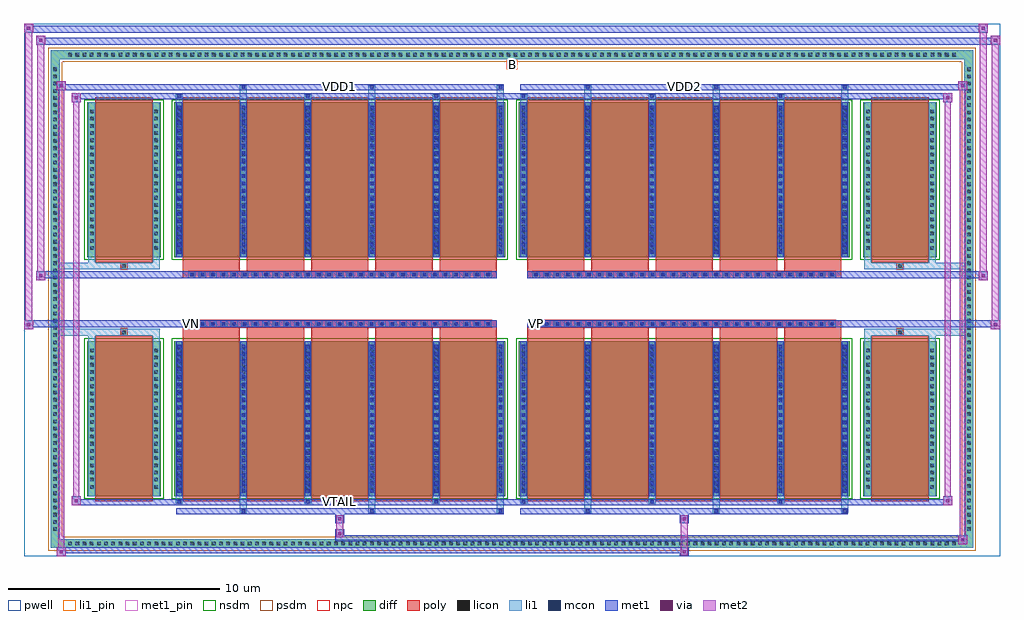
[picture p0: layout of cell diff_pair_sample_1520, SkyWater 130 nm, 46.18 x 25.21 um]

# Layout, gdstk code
import gdstk
lib = gdstk.Library(unit=1e-6, precision=5e-09)
def R(c, l, rs):  # rectangles x0, y0, x1, y1
    for r in rs: c.add(gdstk.rectangle(r[:2], r[2:], *l))
def A(c, l, x, y, w, h, nx, ny, dx, dy):  # array of equal rectangles
    R(c, l, [(x+i*dx, y+j*dy, x+i*dx+w, y+j*dy+h) for i in range(nx) for j in range(ny)])
def P(c, l, *ps):  # polygons
    for p in ps: c.add(gdstk.Polygon(p, *l))
pwell = (64, 44)
diff = (65, 20)
poly = (66, 20)
licon = (66, 44)
li1_pin = (67, 16)
li1 = (67, 20)
mcon = (67, 44)
met1_pin = (68, 16)
met1 = (68, 20)
via = (68, 44)
met2 = (69, 20)
nsdm = (93, 44)
psdm = (94, 20)
npc = (95, 20)

diff_pair_sample_1520 = lib.new_cell('diff_pair_sample_1520')
R(diff_pair_sample_1520, pwell, [(-23.09,-12.17,23.09,13.04), (-20.41,-10.36,-0.01,-0.8), (0.01,-10.36,20.41,-0.8), (-20.41,0.8,-0.01,10.36), (0.01,0.8,20.41,10.36)])
A(diff_pair_sample_1520, diff, -21.115, -11.77, 0.41, 0.41, 124, 2, 0.34, 23.13)
A(diff_pair_sample_1520, diff, -21.82, -11.085, 0.41, 0.41, 1, 65, 0, 0.34)
A(diff_pair_sample_1520, diff, 21.41, -11.085, 0.41, 0.41, 1, 65, 0, 0.34)
R(diff_pair_sample_1520, diff, [(-21.115,-11.77,21.115,-11.36), (-21.82,-11.085,-21.41,11.085), (21.41,-11.085,21.82,11.085), (-20.1,-9.315,-16.61,-1.985), (-15.97,-9.315,-0.32,-1.985), (0.32,-9.315,15.97,-1.985), (16.61,-9.315,20.1,-1.985), (-20.1,1.985,-16.61,9.315), (-15.97,1.985,-0.32,9.315), (0.32,1.985,15.97,9.315), (16.61,1.985,20.1,9.315), (-21.115,11.36,21.115,11.77)])
P(diff_pair_sample_1520, diff, [(21.82,11.77),(-21.82,11.77),(-21.82,-11.36),(-21.41,-11.36),(-21.41,11.36),(21.41,11.36),(21.41,-11.36),(-21.41,-11.36),(-21.82,-11.36),(-21.82,-11.77),(21.82,-11.77)])
A(diff_pair_sample_1520, poly, -15.58, -9.565, 2.71, 7.83, 5, 2, 3.04, 11.3)
A(diff_pair_sample_1520, poly, 0.71, -9.565, 2.71, 7.83, 5, 2, 3.04, 11.3)
A(diff_pair_sample_1520, poly, -15.58, -1.735, 2.71, 0.405, 5, 2, 3.04, 3.065)
A(diff_pair_sample_1520, poly, 0.71, -1.735, 2.71, 0.405, 5, 2, 3.04, 3.065)
A(diff_pair_sample_1520, poly, -15.31, -1.33, 0.33, 0.33, 29, 2, 0.5, 2.33)
A(diff_pair_sample_1520, poly, 0.98, -1.33, 0.33, 0.33, 29, 2, 0.5, 2.33)
R(diff_pair_sample_1520, poly, [(-19.71,-9.565,-17,-1.735), (17,-9.565,19.71,-1.735), (-18.52,-1.735,-18.19,-1.405), (-18.52,-1.735,-18.19,-1.405), (18.19,-1.735,18.52,-1.405), (18.19,-1.735,18.52,-1.405), (-15.58,-1.33,-0.71,-1), (0.71,-1.33,15.58,-1), (-15.58,1,-0.71,1.33), (0.71,1,15.58,1.33), (-18.52,1.405,-18.19,1.735), (-18.52,1.405,-18.19,1.735), (18.19,1.405,18.52,1.735), (18.19,1.405,18.52,1.735), (-19.71,1.735,-17,9.565), (17,1.735,19.71,9.565)])
A(diff_pair_sample_1520, licon, -20.995, -11.65, 0.17, 0.17, 124, 2, 0.34, 23.13)
A(diff_pair_sample_1520, licon, -21.7, -10.965, 0.17, 0.17, 1, 65, 0, 0.34)
A(diff_pair_sample_1520, licon, 21.53, -10.965, 0.17, 0.17, 1, 65, 0, 0.34)
A(diff_pair_sample_1520, licon, -19.96, -8.965, 0.17, 0.17, 1, 20, 0, 0.34)
A(diff_pair_sample_1520, licon, -16.92, -8.965, 0.17, 0.17, 1, 20, 0, 0.34)
A(diff_pair_sample_1520, licon, -15.83, -8.965, 0.17, 0.17, 6, 20, 3.04, 0.34)
A(diff_pair_sample_1520, licon, 0.46, -8.965, 0.17, 0.17, 6, 20, 3.04, 0.34)
A(diff_pair_sample_1520, licon, 16.75, -8.965, 0.17, 0.17, 1, 20, 0, 0.34)
A(diff_pair_sample_1520, licon, 19.79, -8.965, 0.17, 0.17, 1, 20, 0, 0.34)
A(diff_pair_sample_1520, licon, -15.23, -1.25, 0.17, 0.17, 29, 2, 0.5, 2.33)
A(diff_pair_sample_1520, licon, 1.06, -1.25, 0.17, 0.17, 29, 2, 0.5, 2.33)
A(diff_pair_sample_1520, licon, -19.96, 2.335, 0.17, 0.17, 1, 20, 0, 0.34)
A(diff_pair_sample_1520, licon, -16.92, 2.335, 0.17, 0.17, 1, 20, 0, 0.34)
A(diff_pair_sample_1520, licon, -15.83, 2.335, 0.17, 0.17, 6, 20, 3.04, 0.34)
A(diff_pair_sample_1520, licon, 0.46, 2.335, 0.17, 0.17, 6, 20, 3.04, 0.34)
A(diff_pair_sample_1520, licon, 16.75, 2.335, 0.17, 0.17, 1, 20, 0, 0.34)
A(diff_pair_sample_1520, licon, 19.79, 2.335, 0.17, 0.17, 1, 20, 0, 0.34)
R(diff_pair_sample_1520, licon, [(-18.44,-1.655,-18.27,-1.485), (18.27,-1.655,18.44,-1.485), (-18.44,1.485,-18.27,1.655), (18.27,1.485,18.44,1.655)])
R(diff_pair_sample_1520, li1_pin, [(-0.25,10.86,0.25,11.36)])
A(diff_pair_sample_1520, li1, -21.075, -11.73, 0.33, 0.33, 124, 2, 0.34, 23.13)
A(diff_pair_sample_1520, li1, -21.78, -11.045, 0.33, 0.33, 1, 65, 0, 0.34)
A(diff_pair_sample_1520, li1, 21.45, -11.045, 0.33, 0.33, 1, 65, 0, 0.34)
A(diff_pair_sample_1520, li1, -12.87, -10.12, 0.33, 0.805, 3, 2, 6.08, 19.435)
A(diff_pair_sample_1520, li1, -12.79, -10.12, 0.17, 0.17, 3, 2, 6.08, 20.07)
A(diff_pair_sample_1520, li1, 3.42, -10.12, 0.33, 0.805, 3, 2, 6.08, 19.435)
A(diff_pair_sample_1520, li1, 3.5, -10.12, 0.17, 0.17, 3, 2, 6.08, 20.07)
A(diff_pair_sample_1520, li1, -15.91, -9.69, 0.33, 0.375, 3, 2, 6.08, 19.005)
A(diff_pair_sample_1520, li1, -15.83, -9.69, 0.17, 0.17, 3, 2, 6.08, 19.21)
A(diff_pair_sample_1520, li1, 0.38, -9.69, 0.33, 0.375, 3, 2, 6.08, 19.005)
A(diff_pair_sample_1520, li1, 0.46, -9.69, 0.17, 0.17, 3, 2, 6.08, 19.21)
A(diff_pair_sample_1520, li1, -15.91, -9.315, 0.33, 7.33, 6, 2, 3.04, 11.3)
A(diff_pair_sample_1520, li1, 0.38, -9.315, 0.33, 7.33, 6, 2, 3.04, 11.3)
A(diff_pair_sample_1520, li1, -15.83, -9.155, 0.17, 0.17, 6, 20, 3.04, 0.36)
A(diff_pair_sample_1520, li1, -15.83, -9.155, 0.17, 7.01, 6, 2, 3.04, 11.3)
A(diff_pair_sample_1520, li1, 0.46, -9.155, 0.17, 0.17, 6, 20, 3.04, 0.36)
A(diff_pair_sample_1520, li1, 0.46, -9.155, 0.17, 7.01, 6, 2, 3.04, 11.3)
A(diff_pair_sample_1520, li1, -20.04, -9.045, 0.33, 0.33, 1, 20, 0, 0.34)
A(diff_pair_sample_1520, li1, -17, -9.045, 0.33, 0.33, 1, 20, 0, 0.34)
A(diff_pair_sample_1520, li1, -15.91, -9.045, 0.33, 0.33, 6, 20, 3.04, 0.34)
A(diff_pair_sample_1520, li1, 0.38, -9.045, 0.33, 0.33, 6, 20, 3.04, 0.34)
A(diff_pair_sample_1520, li1, 16.67, -9.045, 0.33, 0.33, 1, 20, 0, 0.34)
A(diff_pair_sample_1520, li1, 19.71, -9.045, 0.33, 0.33, 1, 20, 0, 0.34)
A(diff_pair_sample_1520, li1, -15.31, -1.33, 0.33, 0.33, 29, 2, 0.5, 2.33)
A(diff_pair_sample_1520, li1, 0.98, -1.33, 0.33, 0.33, 29, 2, 0.5, 2.33)
A(diff_pair_sample_1520, li1, -15.83, 2.145, 0.17, 0.17, 6, 20, 3.04, 0.36)
A(diff_pair_sample_1520, li1, 0.46, 2.145, 0.17, 0.17, 6, 20, 3.04, 0.36)
A(diff_pair_sample_1520, li1, -20.04, 2.255, 0.33, 0.33, 1, 20, 0, 0.34)
A(diff_pair_sample_1520, li1, -17, 2.255, 0.33, 0.33, 1, 20, 0, 0.34)
A(diff_pair_sample_1520, li1, -15.91, 2.255, 0.33, 0.33, 6, 20, 3.04, 0.34)
A(diff_pair_sample_1520, li1, 0.38, 2.255, 0.33, 0.33, 6, 20, 3.04, 0.34)
A(diff_pair_sample_1520, li1, 16.67, 2.255, 0.33, 0.33, 1, 20, 0, 0.34)
A(diff_pair_sample_1520, li1, 19.71, 2.255, 0.33, 0.33, 1, 20, 0, 0.34)
R(diff_pair_sample_1520, li1, [(-21.82,-11.77,-21.41,-11.36), (-21.82,-11.77,-21.41,-11.36), (-21.41,-11.77,21.41,-11.36), (21.41,-11.77,21.82,-11.36), (21.41,-11.77,21.82,-11.36), (-21.82,-11.36,-21.41,11.36), (21.41,-11.36,21.82,11.36), (-20.04,-9.315,-19.71,-1.985), (-17,-9.315,-16.67,-1.985), (16.67,-9.315,17,-1.985), (19.71,-9.315,20.04,-1.985), (-20.04,-1.985,-19.71,-1.405), (-17,-1.985,-16.67,-1.405), (16.67,-1.985,17,-1.405), (19.71,-1.985,20.04,-1.405), (-21.82,-1.735,-18.52,-1.405), (-20.04,-1.735,-18.52,-1.405), (-18.52,-1.735,-18.19,-1.405), (-18.19,-1.735,-16.67,-1.405), (16.67,-1.735,18.19,-1.405), (18.19,-1.735,18.52,-1.405), (18.19,-1.735,21.82,-1.405), (18.52,-1.735,20.04,-1.405), (-21.82,1.405,-18.52,1.735), (-20.04,1.405,-18.52,1.735), (-20.04,1.405,-19.71,1.985), (-18.52,1.405,-18.19,1.735), (-18.19,1.405,-16.67,1.735), (-17,1.405,-16.67,1.985), (16.67,1.405,18.19,1.735), (16.67,1.405,17,1.985), (18.19,1.405,18.52,1.735), (18.19,1.405,21.82,1.735), (18.52,1.405,20.04,1.735), (19.71,1.405,20.04,1.985), (-20.04,1.985,-19.71,9.315), (-17,1.985,-16.67,9.315), (16.67,1.985,17,9.315), (19.71,1.985,20.04,9.315), (-21.82,11.36,-21.41,11.77), (-21.82,11.36,-21.41,11.77), (-21.41,11.36,21.41,11.77), (21.41,11.36,21.82,11.77), (21.41,11.36,21.82,11.77)])
A(diff_pair_sample_1520, mcon, -12.79, -10.12, 0.17, 0.17, 3, 2, 6.08, 20.07)
A(diff_pair_sample_1520, mcon, 3.5, -10.12, 0.17, 0.17, 3, 2, 6.08, 20.07)
A(diff_pair_sample_1520, mcon, -15.83, -9.69, 0.17, 0.17, 3, 2, 6.08, 19.21)
A(diff_pair_sample_1520, mcon, 0.46, -9.69, 0.17, 0.17, 3, 2, 6.08, 19.21)
A(diff_pair_sample_1520, mcon, -15.83, -9.155, 0.17, 0.17, 6, 20, 3.04, 0.36)
A(diff_pair_sample_1520, mcon, 0.46, -9.155, 0.17, 0.17, 6, 20, 3.04, 0.36)
A(diff_pair_sample_1520, mcon, -15.23, -1.25, 0.17, 0.17, 29, 2, 0.5, 2.33)
A(diff_pair_sample_1520, mcon, 1.06, -1.25, 0.17, 0.17, 29, 2, 0.5, 2.33)
A(diff_pair_sample_1520, mcon, -15.83, 2.145, 0.17, 0.17, 6, 20, 3.04, 0.36)
A(diff_pair_sample_1520, mcon, 0.46, 2.145, 0.17, 0.17, 6, 20, 3.04, 0.36)
R(diff_pair_sample_1520, met1_pin, [(-8.28,-9.73,-8.01,-9.46), (-15.28,-1.29,-15.01,-1.02), (1.01,-1.29,1.28,-1.02), (-8.28,9.91,-8.01,10.18), (8.01,9.91,8.28,10.18)])
A(diff_pair_sample_1520, met1, -12.85, -10.18, 0.29, 0.29, 3, 2, 6.08, 20.07)
A(diff_pair_sample_1520, met1, 3.44, -10.18, 0.29, 0.29, 3, 2, 6.08, 20.07)
A(diff_pair_sample_1520, met1, -15.89, -9.75, 0.29, 0.29, 3, 2, 6.08, 19.21)
A(diff_pair_sample_1520, met1, 0.4, -9.75, 0.29, 0.29, 3, 2, 6.08, 19.21)
A(diff_pair_sample_1520, met1, -15.89, -9.315, 0.29, 7.33, 6, 2, 3.04, 11.3)
A(diff_pair_sample_1520, met1, 0.4, -9.315, 0.29, 7.33, 6, 2, 3.04, 11.3)
A(diff_pair_sample_1520, met1, -15.89, -9.215, 0.29, 0.29, 6, 20, 3.04, 0.36)
A(diff_pair_sample_1520, met1, 0.4, -9.215, 0.29, 0.29, 6, 20, 3.04, 0.36)
A(diff_pair_sample_1520, met1, -15.29, -1.31, 0.29, 0.29, 29, 2, 0.5, 2.33)
A(diff_pair_sample_1520, met1, 1, -1.31, 0.29, 0.29, 29, 2, 0.5, 2.33)
A(diff_pair_sample_1520, met1, -15.89, 2.085, 0.29, 0.29, 6, 20, 3.04, 0.36)
A(diff_pair_sample_1520, met1, 0.4, 2.085, 0.29, 0.29, 6, 20, 3.04, 0.36)
R(diff_pair_sample_1520, met1, [(-21.55,-12.17,-21.12,-11.74), (7.93,-12.17,8.36,-11.74), (-21.55,-12.03,8.36,-11.74), (21.12,-11.6,21.55,-11.17), (-8.36,-11.46,21.55,-11.17), (-8.36,-11.32,-7.93,-10.89), (-8.36,-10.61,-7.93,-10.18), (7.93,-10.61,8.36,-10.18), (-15.89,-10.18,-0.4,-9.89), (0.4,-10.18,15.89,-9.89), (-20.84,-9.75,-20.41,-9.32), (-20.84,-9.75,-15.89,-9.46), (-15.89,-9.75,-0.4,-9.46), (-0.4,-9.75,0.4,-9.46), (0.4,-9.75,15.89,-9.46), (15.89,-9.75,20.84,-9.46), (20.41,-9.75,20.84,-9.32), (-23.09,-1.43,-22.66,-1), (22.66,-1.43,23.09,-1), (-23.09,-1.33,-0.71,-1), (-15.58,-1.33,-0.71,-1), (0.71,-1.33,15.58,-1), (0.71,-1.33,23.09,-1), (-22.52,0.9,-22.09,1.33), (22.09,0.9,22.52,1.33), (-22.52,1,-15.58,1.33), (-15.58,1,-0.71,1.33), (0.71,1,15.58,1.33), (15.58,1,22.52,1.33), (-20.84,9.32,-20.41,9.75), (20.41,9.32,20.84,9.75), (-20.84,9.46,-15.89,9.75), (-15.89,9.46,-0.4,9.75), (-0.4,9.46,0.4,9.75), (0.4,9.46,15.89,9.75), (15.89,9.46,20.84,9.75), (-21.55,9.89,-21.12,10.32), (-21.55,9.89,-15.89,10.18), (-15.89,9.89,-0.4,10.18), (0.4,9.89,15.89,10.18), (15.89,9.89,21.55,10.18), (21.12,9.89,21.55,10.32), (-22.52,12.04,-22.09,12.47), (-22.52,12.04,-20.41,12.37), (-20.41,12.04,20.41,12.37), (20.41,12.04,23.09,12.37), (22.66,12.04,23.09,12.47), (-23.09,12.61,-22.66,13.04), (-23.09,12.61,-20.41,12.94), (-20.41,12.61,20.41,12.94), (20.41,12.61,22.52,12.94), (22.09,12.61,22.52,13.04)])
R(diff_pair_sample_1520, via, [(-21.41,-12.03,-21.26,-11.88), (8.07,-12.03,8.22,-11.88), (21.26,-11.46,21.41,-11.31), (-8.22,-11.18,-8.07,-11.03), (-8.22,-10.47,-8.07,-10.32), (8.07,-10.47,8.22,-10.32), (-20.7,-9.61,-20.55,-9.46), (20.55,-9.61,20.7,-9.46), (-22.95,-1.29,-22.8,-1.14), (22.8,-1.29,22.95,-1.14), (-22.38,1.04,-22.23,1.19), (22.23,1.04,22.38,1.19), (-20.7,9.46,-20.55,9.61), (20.55,9.46,20.7,9.61), (-21.41,10.03,-21.26,10.18), (21.26,10.03,21.41,10.18), (-22.38,12.18,-22.23,12.33), (22.8,12.18,22.95,12.33), (-22.95,12.75,-22.8,12.9), (22.23,12.75,22.38,12.9)])
R(diff_pair_sample_1520, met2, [(-21.55,-12.17,-21.12,-11.74), (-21.48,-12.17,-21.19,10.32), (-21.19,-12.17,-21.12,-11.74), (-21.5,-12.12,-21.17,-11.79), (7.98,-12.12,8.31,-11.79), (7.98,-11.79,8.31,-10.56), (21.12,-11.6,21.55,-11.17), (21.19,-11.6,21.48,10.32), (21.48,-11.6,21.55,-11.17), (21.17,-11.55,21.5,-11.22), (-8.31,-11.27,-7.98,-10.94), (-8.31,-10.94,-7.98,-10.56), (-8.31,-10.56,-7.98,-10.23), (7.98,-10.56,8.31,-10.23), (-20.84,-9.75,-20.41,-9.32), (-20.77,-9.75,-20.48,9.75), (-20.48,-9.75,-20.41,-9.32), (20.41,-9.75,20.84,-9.32), (20.48,-9.75,20.77,9.75), (20.77,-9.75,20.84,-9.32), (-20.79,-9.7,-20.46,-9.37), (20.46,-9.7,20.79,-9.37), (-23.09,-1.43,-22.66,-1), (-23.04,-1.43,-22.71,13.04), (-22.71,-1.43,-22.66,-1), (22.66,-1.43,23.09,-1), (22.71,-1.43,23.04,12.47), (23.04,-1.43,23.09,-1), (-23.04,-1.38,-22.71,-1.05), (22.71,-1.38,23.04,-1.05), (-22.52,0.9,-22.09,1.33), (-22.47,0.9,-22.14,12.47), (-22.14,0.9,-22.09,1.33), (22.09,0.9,22.52,1.33), (22.14,0.9,22.47,13.04), (22.47,0.9,22.52,1.33), (-22.47,0.95,-22.14,1.28), (22.14,0.95,22.47,1.28), (-20.84,9.32,-20.41,9.75), (-20.48,9.32,-20.41,9.75), (20.41,9.32,20.84,9.75), (20.77,9.32,20.84,9.75), (-20.79,9.37,-20.46,9.7), (20.46,9.37,20.79,9.7), (-21.55,9.89,-21.12,10.32), (-21.19,9.89,-21.12,10.32), (21.12,9.89,21.55,10.32), (21.48,9.89,21.55,10.32), (-21.5,9.94,-21.17,10.27), (21.17,9.94,21.5,10.27), (-22.52,12.04,-22.09,12.47), (-22.14,12.04,-22.09,12.47), (22.66,12.04,23.09,12.47), (23.04,12.04,23.09,12.47), (-22.47,12.09,-22.14,12.42), (22.71,12.09,23.04,12.42), (-23.09,12.61,-22.66,13.04), (-22.71,12.61,-22.66,13.04), (22.09,12.61,22.52,13.04), (22.47,12.61,22.52,13.04), (-23.04,12.66,-22.71,12.99), (22.14,12.66,22.47,12.99)])
R(diff_pair_sample_1520, nsdm, [(-20.23,-9.445,-16.48,-1.855), (-16.1,-9.445,-0.19,-1.855), (0.19,-9.445,16.1,-1.855), (16.48,-9.445,20.23,-1.855), (-20.23,1.855,-16.48,9.445), (-16.1,1.855,-0.19,9.445), (0.19,1.855,16.1,9.445), (16.48,1.855,20.23,9.445)])
P(diff_pair_sample_1520, psdm, [(21.95,11.9),(-21.95,11.9),(-21.95,-11.23),(-21.28,-11.23),(-21.28,11.23),(21.28,11.23),(21.28,-11.23),(-21.28,-11.23),(-21.95,-11.23),(-21.95,-11.9),(21.95,-11.9)])
A(diff_pair_sample_1520, npc, -15.33, -1.35, 0.37, 0.37, 29, 2, 0.5, 2.33)
A(diff_pair_sample_1520, npc, 0.96, -1.35, 0.37, 0.37, 29, 2, 0.5, 2.33)
R(diff_pair_sample_1520, npc, [(-18.54,-1.755,-18.17,-1.385), (18.17,-1.755,18.54,-1.385), (-15.33,-1.35,-14.46,-0.98), (-15.33,-1.35,-14.46,-0.98), (-14.83,-1.35,-13.96,-0.98), (-14.83,-1.35,-13.96,-0.98), (-14.33,-1.35,-13.46,-0.98), (-14.33,-1.35,-13.46,-0.98), (-13.83,-1.35,-12.96,-0.98), (-13.83,-1.35,-12.96,-0.98), (-13.33,-1.35,-12.46,-0.98), (-13.33,-1.35,-12.46,-0.98), (-12.83,-1.35,-11.96,-0.98), (-12.83,-1.35,-11.96,-0.98), (-12.33,-1.35,-11.46,-0.98), (-12.33,-1.35,-11.46,-0.98), (-11.83,-1.35,-10.96,-0.98), (-11.83,-1.35,-10.96,-0.98), (-11.33,-1.35,-10.46,-0.98), (-11.33,-1.35,-10.46,-0.98), (-10.83,-1.35,-9.96,-0.98), (-10.83,-1.35,-9.96,-0.98), (-10.33,-1.35,-9.46,-0.98), (-10.33,-1.35,-9.46,-0.98), (-9.83,-1.35,-8.96,-0.98), (-9.83,-1.35,-8.96,-0.98), (-9.33,-1.35,-8.46,-0.98), (-9.33,-1.35,-8.46,-0.98), (-8.83,-1.35,-7.96,-0.98), (-8.83,-1.35,-7.96,-0.98), (-8.33,-1.35,-7.46,-0.98), (-8.33,-1.35,-7.46,-0.98), (-7.83,-1.35,-6.96,-0.98), (-7.83,-1.35,-6.96,-0.98), (-7.33,-1.35,-6.46,-0.98), (-7.33,-1.35,-6.46,-0.98), (-6.83,-1.35,-5.96,-0.98), (-6.83,-1.35,-5.96,-0.98), (-6.33,-1.35,-5.46,-0.98), (-6.33,-1.35,-5.46,-0.98), (-5.83,-1.35,-4.96,-0.98), (-5.83,-1.35,-4.96,-0.98), (-5.33,-1.35,-4.46,-0.98), (-5.33,-1.35,-4.46,-0.98), (-4.83,-1.35,-3.96,-0.98), (-4.83,-1.35,-3.96,-0.98), (-4.33,-1.35,-3.46,-0.98), (-4.33,-1.35,-3.46,-0.98), (-3.83,-1.35,-2.96,-0.98), (-3.83,-1.35,-2.96,-0.98), (-3.33,-1.35,-2.46,-0.98), (-3.33,-1.35,-2.46,-0.98), (-2.83,-1.35,-1.96,-0.98), (-2.83,-1.35,-1.96,-0.98), (-2.33,-1.35,-1.46,-0.98), (-2.33,-1.35,-1.46,-0.98), (-1.83,-1.35,-0.96,-0.98), (-1.83,-1.35,-0.96,-0.98), (0.96,-1.35,1.83,-0.98), (0.96,-1.35,1.83,-0.98), (1.46,-1.35,2.33,-0.98), (1.46,-1.35,2.33,-0.98), (1.96,-1.35,2.83,-0.98), (1.96,-1.35,2.83,-0.98), (2.46,-1.35,3.33,-0.98), (2.46,-1.35,3.33,-0.98), (2.96,-1.35,3.83,-0.98), (2.96,-1.35,3.83,-0.98), (3.46,-1.35,4.33,-0.98), (3.46,-1.35,4.33,-0.98), (3.96,-1.35,4.83,-0.98), (3.96,-1.35,4.83,-0.98), (4.46,-1.35,5.33,-0.98), (4.46,-1.35,5.33,-0.98), (4.96,-1.35,5.83,-0.98), (4.96,-1.35,5.83,-0.98), (5.46,-1.35,6.33,-0.98), (5.46,-1.35,6.33,-0.98), (5.96,-1.35,6.83,-0.98), (5.96,-1.35,6.83,-0.98), (6.46,-1.35,7.33,-0.98), (6.46,-1.35,7.33,-0.98), (6.96,-1.35,7.83,-0.98), (6.96,-1.35,7.83,-0.98), (7.46,-1.35,8.33,-0.98), (7.46,-1.35,8.33,-0.98), (7.96,-1.35,8.83,-0.98), (7.96,-1.35,8.83,-0.98), (8.46,-1.35,9.33,-0.98), (8.46,-1.35,9.33,-0.98), (8.96,-1.35,9.83,-0.98), (8.96,-1.35,9.83,-0.98), (9.46,-1.35,10.33,-0.98), (9.46,-1.35,10.33,-0.98), (9.96,-1.35,10.83,-0.98), (9.96,-1.35,10.83,-0.98), (10.46,-1.35,11.33,-0.98), (10.46,-1.35,11.33,-0.98), (10.96,-1.35,11.83,-0.98), (10.96,-1.35,11.83,-0.98), (11.46,-1.35,12.33,-0.98), (11.46,-1.35,12.33,-0.98), (11.96,-1.35,12.83,-0.98), (11.96,-1.35,12.83,-0.98), (12.46,-1.35,13.33,-0.98), (12.46,-1.35,13.33,-0.98), (12.96,-1.35,13.83,-0.98), (12.96,-1.35,13.83,-0.98), (13.46,-1.35,14.33,-0.98), (13.46,-1.35,14.33,-0.98), (13.96,-1.35,14.83,-0.98), (13.96,-1.35,14.83,-0.98), (14.46,-1.35,15.33,-0.98), (14.46,-1.35,15.33,-0.98), (-15.33,0.98,-14.46,1.35), (-15.33,0.98,-14.46,1.35), (-14.83,0.98,-13.96,1.35), (-14.83,0.98,-13.96,1.35), (-14.33,0.98,-13.46,1.35), (-14.33,0.98,-13.46,1.35), (-13.83,0.98,-12.96,1.35), (-13.83,0.98,-12.96,1.35), (-13.33,0.98,-12.46,1.35), (-13.33,0.98,-12.46,1.35), (-12.83,0.98,-11.96,1.35), (-12.83,0.98,-11.96,1.35), (-12.33,0.98,-11.46,1.35), (-12.33,0.98,-11.46,1.35), (-11.83,0.98,-10.96,1.35), (-11.83,0.98,-10.96,1.35), (-11.33,0.98,-10.46,1.35), (-11.33,0.98,-10.46,1.35), (-10.83,0.98,-9.96,1.35), (-10.83,0.98,-9.96,1.35), (-10.33,0.98,-9.46,1.35), (-10.33,0.98,-9.46,1.35), (-9.83,0.98,-8.96,1.35), (-9.83,0.98,-8.96,1.35), (-9.33,0.98,-8.46,1.35), (-9.33,0.98,-8.46,1.35), (-8.83,0.98,-7.96,1.35), (-8.83,0.98,-7.96,1.35), (-8.33,0.98,-7.46,1.35), (-8.33,0.98,-7.46,1.35), (-7.83,0.98,-6.96,1.35), (-7.83,0.98,-6.96,1.35), (-7.33,0.98,-6.46,1.35), (-7.33,0.98,-6.46,1.35), (-6.83,0.98,-5.96,1.35), (-6.83,0.98,-5.96,1.35), (-6.33,0.98,-5.46,1.35), (-6.33,0.98,-5.46,1.35), (-5.83,0.98,-4.96,1.35), (-5.83,0.98,-4.96,1.35), (-5.33,0.98,-4.46,1.35), (-5.33,0.98,-4.46,1.35), (-4.83,0.98,-3.96,1.35), (-4.83,0.98,-3.96,1.35), (-4.33,0.98,-3.46,1.35), (-4.33,0.98,-3.46,1.35), (-3.83,0.98,-2.96,1.35), (-3.83,0.98,-2.96,1.35), (-3.33,0.98,-2.46,1.35), (-3.33,0.98,-2.46,1.35), (-2.83,0.98,-1.96,1.35), (-2.83,0.98,-1.96,1.35), (-2.33,0.98,-1.46,1.35), (-2.33,0.98,-1.46,1.35), (-1.83,0.98,-0.96,1.35), (-1.83,0.98,-0.96,1.35), (0.96,0.98,1.83,1.35), (0.96,0.98,1.83,1.35), (1.46,0.98,2.33,1.35), (1.46,0.98,2.33,1.35), (1.96,0.98,2.83,1.35), (1.96,0.98,2.83,1.35), (2.46,0.98,3.33,1.35), (2.46,0.98,3.33,1.35), (2.96,0.98,3.83,1.35), (2.96,0.98,3.83,1.35), (3.46,0.98,4.33,1.35), (3.46,0.98,4.33,1.35), (3.96,0.98,4.83,1.35), (3.96,0.98,4.83,1.35), (4.46,0.98,5.33,1.35), (4.46,0.98,5.33,1.35), (4.96,0.98,5.83,1.35), (4.96,0.98,5.83,1.35), (5.46,0.98,6.33,1.35), (5.46,0.98,6.33,1.35), (5.96,0.98,6.83,1.35), (5.96,0.98,6.83,1.35), (6.46,0.98,7.33,1.35), (6.46,0.98,7.33,1.35), (6.96,0.98,7.83,1.35), (6.96,0.98,7.83,1.35), (7.46,0.98,8.33,1.35), (7.46,0.98,8.33,1.35), (7.96,0.98,8.83,1.35), (7.96,0.98,8.83,1.35), (8.46,0.98,9.33,1.35), (8.46,0.98,9.33,1.35), (8.96,0.98,9.83,1.35), (8.96,0.98,9.83,1.35), (9.46,0.98,10.33,1.35), (9.46,0.98,10.33,1.35), (9.96,0.98,10.83,1.35), (9.96,0.98,10.83,1.35), (10.46,0.98,11.33,1.35), (10.46,0.98,11.33,1.35), (10.96,0.98,11.83,1.35), (10.96,0.98,11.83,1.35), (11.46,0.98,12.33,1.35), (11.46,0.98,12.33,1.35), (11.96,0.98,12.83,1.35), (11.96,0.98,12.83,1.35), (12.46,0.98,13.33,1.35), (12.46,0.98,13.33,1.35), (12.96,0.98,13.83,1.35), (12.96,0.98,13.83,1.35), (13.46,0.98,14.33,1.35), (13.46,0.98,14.33,1.35), (13.96,0.98,14.83,1.35), (13.96,0.98,14.83,1.35), (14.46,0.98,15.33,1.35), (14.46,0.98,15.33,1.35), (-18.54,1.385,-18.17,1.755), (18.17,1.385,18.54,1.755)])
diff_pair_sample_1520.add(gdstk.Label('VTAIL', (-8.145,-9.595), layer=68, texttype=5))
diff_pair_sample_1520.add(gdstk.Label('VN', (-15.145,-1.155), layer=68, texttype=5))
diff_pair_sample_1520.add(gdstk.Label('VP', (1.145,-1.155), layer=68, texttype=5))
diff_pair_sample_1520.add(gdstk.Label('B', (0,11.11), layer=67, texttype=5))
diff_pair_sample_1520.add(gdstk.Label('VDD2', (8.145,10.045), layer=68, texttype=5))
diff_pair_sample_1520.add(gdstk.Label('VDD1', (-8.145,10.045), layer=68, texttype=5))

lib.write_gds('diff_pair_sample_1520.gds')
